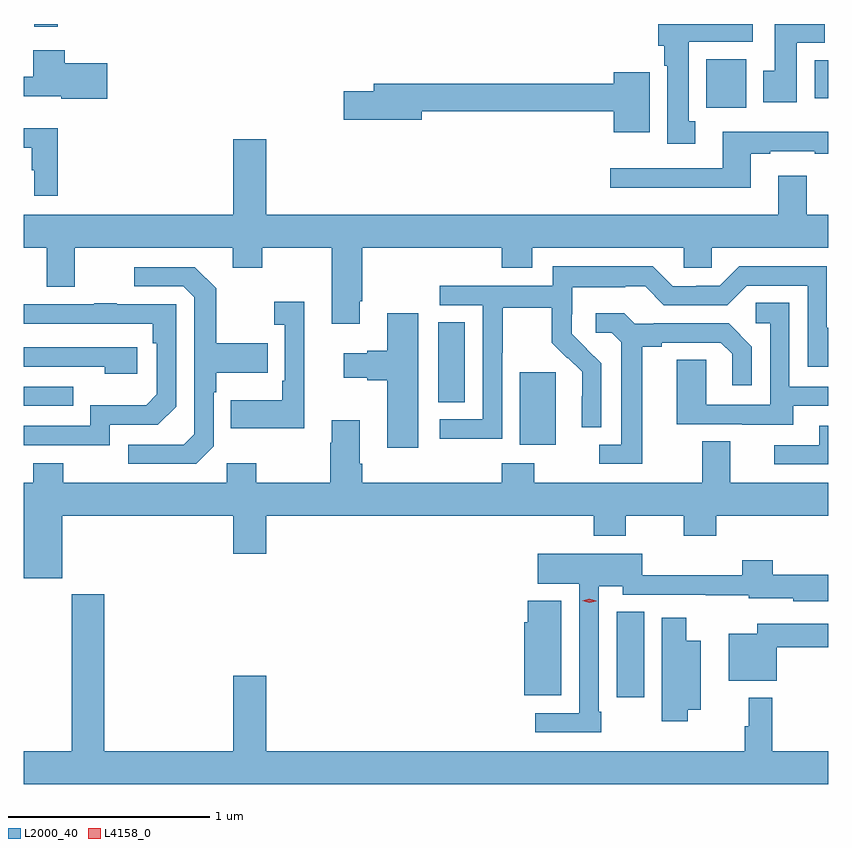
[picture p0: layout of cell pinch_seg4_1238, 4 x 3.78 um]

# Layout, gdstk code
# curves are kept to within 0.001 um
import gdstk
lib = gdstk.Library(unit=1e-6, precision=1e-09)
def R(c, l, rs):  # rectangles x0, y0, x1, y1
    for r in rs: c.add(gdstk.rectangle(r[:2], r[2:], *l))
def P(c, l, *ps):  # polygons
    for p in ps: c.add(gdstk.Polygon(p, *l))
L2000_40 = (2000, 40)
L4158_0 = (4158, 0)

pinch_seg4_1238 = lib.new_cell('pinch_seg4_1238')
R(pinch_seg4_1238, L2000_40, [(238.841,773.274,238.978,773.699), (238.361,774.53,238.54,774.891), (235.894,774.723,236.141,774.819), (237.956,774.742,238.087,775.139), (239.288,776.204,239.485,776.446), (239.825,776.252,239.894,776.44), (235.946,776.607,236.063,776.621)])
P(pinch_seg4_1238, L2000_40, [(239.233,776.138),(239.2,776.138),(239.2,776.534),(239.518,776.534),(239.518,776.621),(239.048,776.621),(239.048,776.514),(239.078,776.514),(239.078,776.414),(239.093,776.414),(239.093,776.025),(239.233,776.025)],
  [(239.737,776.528),(239.876,776.528),(239.876,776.621),(239.627,776.621),(239.627,776.388),(239.57,776.388),(239.57,776.232),(239.737,776.232)],
  [(236.311,776.427),(236.099,776.427),(236.099,776.491),(235.943,776.491),(235.943,776.358),(235.894,776.358),(235.894,776.261),(236.082,776.261),(236.082,776.249),(236.311,776.249)],
  [(239.005,776.38),(238.826,776.38),(238.826,776.324),(237.635,776.324),(237.635,776.288),(237.486,776.288),(237.486,776.146),(237.874,776.146),(237.874,776.188),(238.826,776.188),(238.826,776.084),(239.005,776.084)],
  [(236.063,776.104),(235.894,776.104),(235.894,776.006),(235.935,776.006),(235.935,775.895),(235.946,775.895),(235.946,775.767),(236.063,775.767)],
  [(239.509,775.977),(239.605,775.977),(239.605,775.989),(239.825,775.989),(239.825,775.977),(239.894,775.977),(239.894,776.086),(239.369,776.086),(239.369,775.905),(238.809,775.905),(238.809,775.808),(239.509,775.808)],
  [(237.565,775.243),(237.578,775.243),(237.578,775.508),(238.271,775.508),(238.271,775.409),(238.423,775.409),(238.423,775.508),(239.175,775.508),(239.175,775.41),(239.313,775.41),(239.313,775.508),(239.894,775.508),(239.894,775.672),(239.785,775.672),(239.785,775.867),(239.645,775.867),(239.645,775.672),(237.1,775.672),(237.1,776.047),(236.936,776.047),(236.936,775.672),(235.894,775.672),(235.894,775.508),(236.009,775.508),(236.009,775.314),(236.149,775.314),(236.149,775.508),(236.933,775.508),(236.933,775.409),(237.081,775.409),(237.081,775.508),(237.425,775.508),(237.425,775.131),(237.565,775.131)],
  [(238.272,774.988),(238.275,774.988),(238.275,775.212),(238.519,775.212),(238.519,775.037),(238.596,774.96),(238.599,774.963),(238.67,774.893),(238.67,774.77),(238.668,774.77),(238.668,774.616),(238.764,774.616),(238.764,774.934),(238.618,775.082),(238.618,775.179),(238.62,775.179),(238.62,775.313),(238.883,775.313),(238.883,775.317),(238.983,775.317),(239.076,775.224),(239.391,775.224),(239.487,775.32),(239.79,775.32),(239.79,774.918),(239.894,774.918),(239.894,775.111),(239.886,775.111),(239.886,775.416),(239.451,775.416),(239.355,775.32),(239.237,775.32),(239.237,775.317),(239.121,775.317),(239.021,775.417),(238.524,775.417),(238.524,775.32),(237.963,775.32),(237.963,775.224),(238.176,775.224),(238.176,774.657),(237.963,774.657),(237.963,774.559),(238.272,774.559)],
  [(236.838,774.522),(236.838,774.791),(236.851,774.791),(236.851,774.887),(237.107,774.887),(237.107,775.035),(236.851,775.035),(236.851,775.307),(236.745,775.413),(236.445,775.413),(236.445,775.317),(236.688,775.317),(236.742,775.263),(236.742,774.582),(236.691,774.531),(236.415,774.531),(236.415,774.435),(236.751,774.435)],
  [(237.29,775.24),(237.141,775.24),(237.141,775.127),(237.192,775.127),(237.192,774.847),(237.18,774.847),(237.18,774.751),(236.923,774.751),(236.923,774.611),(237.29,774.611)],
  [(239.719,774.723),(239.894,774.723),(239.894,774.819),(239.7,774.819),(239.7,775.235),(239.532,775.235),(239.532,775.134),(239.604,775.134),(239.604,774.729),(239.286,774.729),(239.286,774.953),(239.141,774.953),(239.141,774.633),(239.465,774.633),(239.465,774.629),(239.719,774.629)],
  [(236.322,774.63),(236.562,774.63),(236.652,774.72),(236.652,775.227),(236.357,775.227),(236.357,775.232),(236.245,775.232),(236.245,775.227),(235.894,775.227),(235.894,775.131),(236.536,775.131),(236.536,775.034),(236.556,775.034),(236.556,774.78),(236.503,774.727),(236.226,774.727),(236.226,774.624),(235.894,774.624),(235.894,774.528),(236.322,774.528)],
  [(237.856,775.183),(237.701,775.183),(237.701,774.998),(237.602,774.998),(237.602,774.985),(237.486,774.985),(237.486,774.863),(237.602,774.863),(237.602,774.851),(237.701,774.851),(237.701,774.516),(237.856,774.516)],
  [(238.969,775.016),(239.065,775.016),(239.065,775.038),(239.36,775.038),(239.417,774.981),(239.417,774.825),(239.514,774.825),(239.514,775.018),(239.398,775.134),(239.026,775.134),(239.026,775.131),(238.932,775.131),(238.88,775.183),(238.737,775.183),(238.737,775.086),(238.818,775.086),(238.865,775.039),(238.865,774.531),(238.755,774.531),(238.755,774.435),(238.969,774.435)],
  [(236.458,775.014),(235.894,775.014),(235.894,774.918),(236.297,774.918),(236.297,774.884),(236.458,774.884)],
  [(236.086,774.176),(236.936,774.176),(236.936,773.988),(237.1,773.988),(237.1,774.176),(238.727,774.176),(238.727,774.077),(238.887,774.077),(238.887,774.176),(239.176,774.176),(239.176,774.077),(239.336,774.077),(239.336,774.176),(239.894,774.176),(239.894,774.34),(239.407,774.34),(239.407,774.548),(239.267,774.548),(239.267,774.34),(238.431,774.34),(238.431,774.439),(238.271,774.439),(238.271,774.34),(237.578,774.34),(237.578,774.436),(237.565,774.436),(237.565,774.652),(237.425,774.652),(237.425,774.539),(237.418,774.539),(237.418,774.34),(237.051,774.34),(237.051,774.439),(236.904,774.439),(236.904,774.34),(236.091,774.34),(236.091,774.439),(235.943,774.439),(235.943,774.34),(235.894,774.34),(235.894,773.867),(236.086,773.867)],
  [(239.894,774.624),(239.849,774.624),(239.849,774.528),(239.625,774.528),(239.625,774.432),(239.894,774.432)],
  [(238.765,773.203),(238.752,773.203),(238.752,773.828),(238.872,773.828),(238.872,773.784),(239.284,773.784),(239.284,773.783),(239.499,773.783),(239.499,773.766),(239.718,773.766),(239.718,773.753),(239.894,773.753),(239.894,773.883),(239.617,773.883),(239.617,773.956),(239.465,773.956),(239.465,773.882),(238.968,773.882),(238.968,773.989),(238.449,773.989),(238.449,773.84),(238.656,773.84),(238.656,773.196),(238.437,773.196),(238.437,773.1),(238.765,773.1)],
  [(239.894,773.008),(239.615,773.008),(239.615,773.272),(239.497,773.272),(239.497,773.132),(239.479,773.132),(239.479,773.008),(237.1,773.008),(237.1,773.383),(236.936,773.383),(236.936,773.008),(236.294,773.008),(236.294,773.788),(236.134,773.788),(236.134,773.008),(235.894,773.008),(235.894,772.844),(239.894,772.844)],
  [(238.567,773.755),(238.4,773.755),(238.4,773.649),(238.382,773.649),(238.382,773.285),(238.567,773.285)],
  [(239.196,773.213),(239.26,773.213),(239.26,773.557),(239.188,773.557),(239.188,773.671),(239.066,773.671),(239.066,773.157),(239.196,773.157)],
  [(239.637,773.524),(239.894,773.524),(239.894,773.64),(239.541,773.64),(239.541,773.59),(239.399,773.59),(239.399,773.357),(239.637,773.357)])
P(pinch_seg4_1238, L4158_0, [(238.705,773.744),(238.67,773.754),(238.67,773.755),(238.67,773.755),(238.705,773.764),(238.74,773.754),(238.74,773.753),(238.74,773.753)])

lib.write_gds('pinch_seg4_1238.gds')
